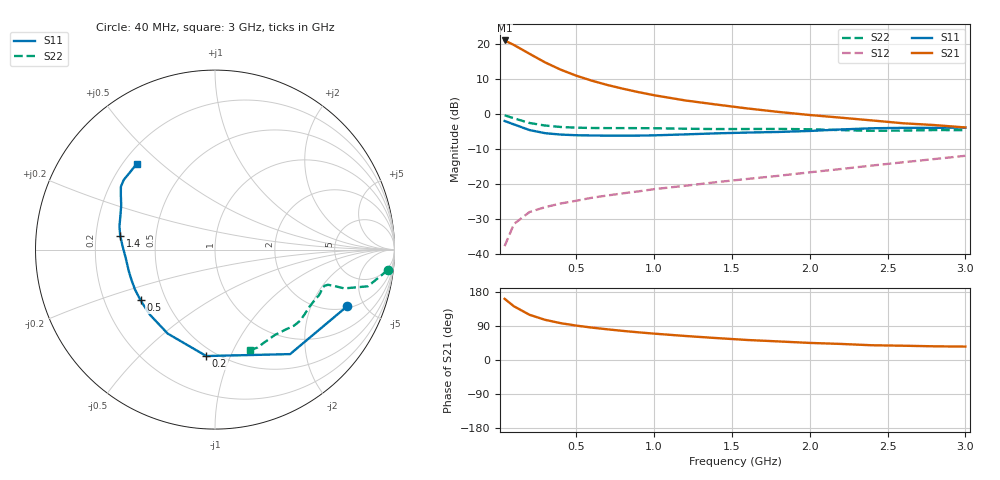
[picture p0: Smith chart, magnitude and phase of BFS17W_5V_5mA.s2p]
! Filename:  BFS17WB.S2P  Version:  4.0
! Philips part #: BFS17W  Date: Jun 1994
! Bias condition: Vce=5V, Ic=5mA
#  MHz  S  MA  R  50
! Freq  S11  S21  S12  S22  !GUM [dB]
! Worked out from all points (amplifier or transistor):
!   21 points, 40 MHz to 3 GHz, reference 50 ohm
!   highest |S21| = 21.1 dB at 40 MHz (marker M1)
!   |S21| within 3 dB of that: start of sweep to 167.7 MHz
!   unconditionally stable (mu >= 1): 556.6 MHz to end of sweep
!   at 300 MHz: K = 0.70, MSG = 20.7 dB, |S12| = -26.6 dB
!   at 1 GHz: K = 1.21, MAG = 10.6 dB, |S12| = -21.4 dB
!   at 3 GHz: K = 1.04, MAG = 2.9 dB, |S12| = -11.9 dB
!   S11 on the Smith chart (normalised r, x): 40 MHz: 2.13, -3.75; 200 MHz: 0.45, -0.82; 500 MHz: 0.36, -0.27; 1.4 GHz: 0.31, +0.07; 3 GHz: 0.25, +0.42
40  0.802 -23.1  11.38 161.5  0.013 77.1  0.969 -6.8
100  0.717 -54.3  9.802 141.7  0.027 62.7  0.876 -13.5
200  0.595 -94.7  7.337 119.3  0.04 52.5  0.752 -16.7
300  0.537 -119.4  5.526 106.0  0.047 50.1  0.691 -17.0
400  0.513 -135.2  4.353 97.2  0.053 51.2  0.659 -17.3
500  0.502 -145.7  3.569 90.8  0.058 52.9  0.644 -18.2
600  0.498 -153.7  3.029 85.5  0.064 55.4  0.637 -19.3
700  0.495 -160.1  2.626 81.0  0.069 57.5  0.635 -20.4
800  0.495 -165.6  2.323 76.8  0.074 59.7  0.635 -21.5
900  0.496 -170.4  2.075 73.0  0.079 61.8  0.634 -22.7
1000  0.5 -174.9  1.875 69.6  0.085 63.6  0.632 -23.9
1200  0.516 177.6  1.579 63.4  0.095 67.3  0.622 -27.1
1400  0.534 171.6  1.379 57.9  0.107 71.0  0.615 -31.3
1600  0.548 166.3  1.212 52.8  0.119 74.3  0.616 -36.1
1800  0.559 160.6  1.081 49.0  0.132 77.9  0.618 -40.0
2000  0.578 154.7  0.977 45.1  0.148 80.9  0.611 -44.0
2200  0.607 149.8  0.895 42.4  0.165 83.4  0.594 -48.7
2400  0.631 146.2  0.817 38.9  0.185 85.4  0.581 -55.1
2600  0.64 142.6  0.744 37.7  0.206 86.4  0.585 -61.5
2800  0.64 138.1  0.702 36.1  0.229 87.3  0.595 -66.6
3000  0.647 132.5  0.648 35.4  0.255 87.7  0.593 -70.6
